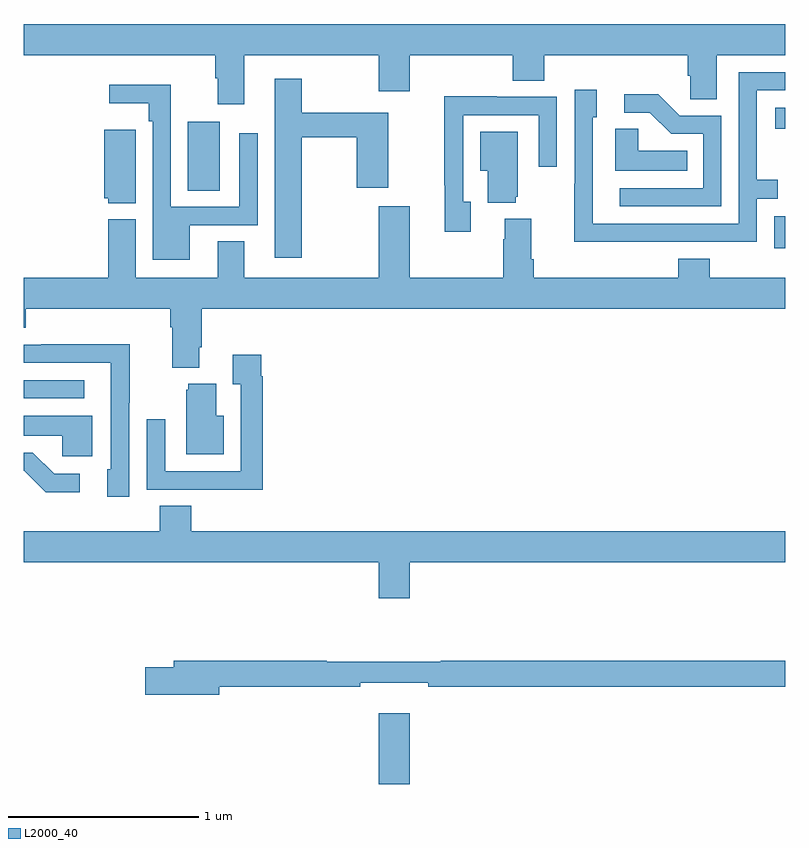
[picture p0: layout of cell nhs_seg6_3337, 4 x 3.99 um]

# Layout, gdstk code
import gdstk
lib = gdstk.Library(unit=1e-6, precision=1e-09)
def R(c, l, rs):  # rectangles x0, y0, x1, y1
    for r in rs: c.add(gdstk.rectangle(r[:2], r[2:], *l))
def P(c, l, *ps):  # polygons
    for p in ps: c.add(gdstk.Polygon(p, *l))
L2000_40 = (2000, 40)

nhs_seg6_3337 = lib.new_cell('nhs_seg6_3337')
R(nhs_seg6_3337, L2000_40, [(308.864,951.5,309.028,951.871), (307,953.526,307.318,953.622), (310.941,954.315,311,954.483), (307.862,954.616,308.029,954.979), (310.947,954.941,311,955.051)])
P(nhs_seg6_3337, L2000_40, [(308.158,955.328),(308.864,955.328),(308.864,955.14),(309.028,955.14),(309.028,955.328),(309.569,955.328),(309.569,955.195),(309.734,955.195),(309.734,955.328),(310.487,955.328),(310.487,955.219),(310.5,955.219),(310.5,955.096),(310.639,955.096),(310.639,955.328),(311,955.328),(311,955.492),(307,955.492),(307,955.328),(308.006,955.328),(308.006,955.208),(308.018,955.208),(308.018,955.071),(308.158,955.071)],
  [(310.355,954.348),(310.851,954.348),(310.851,954.573),(310.961,954.573),(310.961,954.674),(310.851,954.674),(310.851,955.143),(311,955.143),(311,955.239),(310.755,955.239),(310.755,954.444),(309.99,954.444),(309.99,955.002),(310.009,955.002),(310.009,955.147),(309.894,955.147),(309.894,954.653),(309.892,954.653),(309.892,954.347),(310.355,954.347)],
  [(308.46,954.898),(308.749,954.898),(308.749,954.633),(308.914,954.633),(308.914,955.027),(308.46,955.027),(308.46,955.204),(308.318,955.204),(308.318,954.264),(308.46,954.264)],
  [(307.873,954.435),(308.229,954.435),(308.229,954.919),(308.133,954.919),(308.133,954.531),(307.773,954.531),(307.773,955.174),(307.449,955.174),(307.449,955.076),(307.657,955.076),(307.657,954.98),(307.677,954.98),(307.677,954.254),(307.873,954.254)],
  [(310.665,955.011),(310.446,955.011),(310.333,955.124),(310.155,955.124),(310.155,955.026),(310.289,955.026),(310.4,954.915),(310.569,954.915),(310.569,954.63),(310.131,954.63),(310.131,954.534),(310.665,954.534)],
  [(309.349,954.558),(309.309,954.558),(309.309,955.014),(309.705,955.014),(309.705,954.741),(309.801,954.741),(309.801,955.11),(309.485,955.11),(309.485,955.112),(309.208,955.112),(309.208,954.646),(309.212,954.646),(309.212,954.402),(309.349,954.402)],
  [(310.484,954.826),(310.227,954.826),(310.227,954.941),(310.106,954.941),(310.106,954.722),(310.484,954.722)],
  [(307.588,954.937),(307.424,954.937),(307.424,954.576),(307.443,954.576),(307.443,954.551),(307.588,954.551)],
  [(309.584,954.585),(309.595,954.585),(309.595,954.925),(309.398,954.925),(309.398,954.722),(309.437,954.722),(309.437,954.554),(309.584,954.554)],
  [(307.921,953.794),(307.934,953.794),(307.934,953.996),(311,953.996),(311,954.16),(310.604,954.16),(310.604,954.259),(310.439,954.259),(310.439,954.16),(309.68,954.16),(309.68,954.256),(309.667,954.256),(309.667,954.469),(309.527,954.469),(309.527,954.362),(309.52,954.362),(309.52,954.16),(309.028,954.16),(309.028,954.535),(308.864,954.535),(308.864,954.16),(308.158,954.16),(308.158,954.35),(308.018,954.35),(308.018,954.16),(307.588,954.16),(307.588,954.466),(307.445,954.466),(307.445,954.16),(307,954.16),(307,953.897),(307.01,953.897),(307.01,953.996),(307.769,953.996),(307.769,953.9),(307.781,953.9),(307.781,953.687),(307.921,953.687)],
  [(307.554,953.503),(307.557,953.503),(307.557,953.81),(307.093,953.81),(307.093,953.808),(307,953.808),(307,953.712),(307.457,953.712),(307.457,953.458),(307.458,953.458),(307.458,953.154),(307.439,953.154),(307.439,953.01),(307.554,953.01)],
  [(308.255,953.642),(308.248,953.642),(308.248,953.755),(308.099,953.755),(308.099,953.599),(308.139,953.599),(308.139,953.142),(307.743,953.142),(307.743,953.416),(307.647,953.416),(307.647,953.046),(307.963,953.046),(307.963,953.045),(308.255,953.045)],
  [(308.05,953.434),(308.011,953.434),(308.011,953.602),(307.865,953.602),(307.865,953.571),(307.853,953.571),(307.853,953.231),(308.05,953.231)],
  [(307.36,953.434),(307,953.434),(307,953.33),(307.203,953.33),(307.203,953.222),(307.36,953.222)],
  [(307.294,953.13),(307.159,953.13),(307.048,953.241),(307,953.241),(307,953.145),(307.002,953.145),(307.115,953.033),(307.294,953.033)],
  [(309.028,952.664),(311,952.664),(311,952.828),(307.88,952.828),(307.88,952.961),(307.715,952.961),(307.715,952.828),(307,952.828),(307,952.664),(308.864,952.664),(308.864,952.476),(309.028,952.476)],
  [(308.026,952.012),(308.768,952.012),(308.768,952.031),(309.124,952.031),(309.124,952.012),(311,952.012),(311,952.148),(309.191,952.148),(309.191,952.141),(308.591,952.141),(308.591,952.148),(307.787,952.148),(307.787,952.112),(307.638,952.112),(307.638,951.97),(308.026,951.97)])

lib.write_gds('nhs_seg6_3337.gds')
